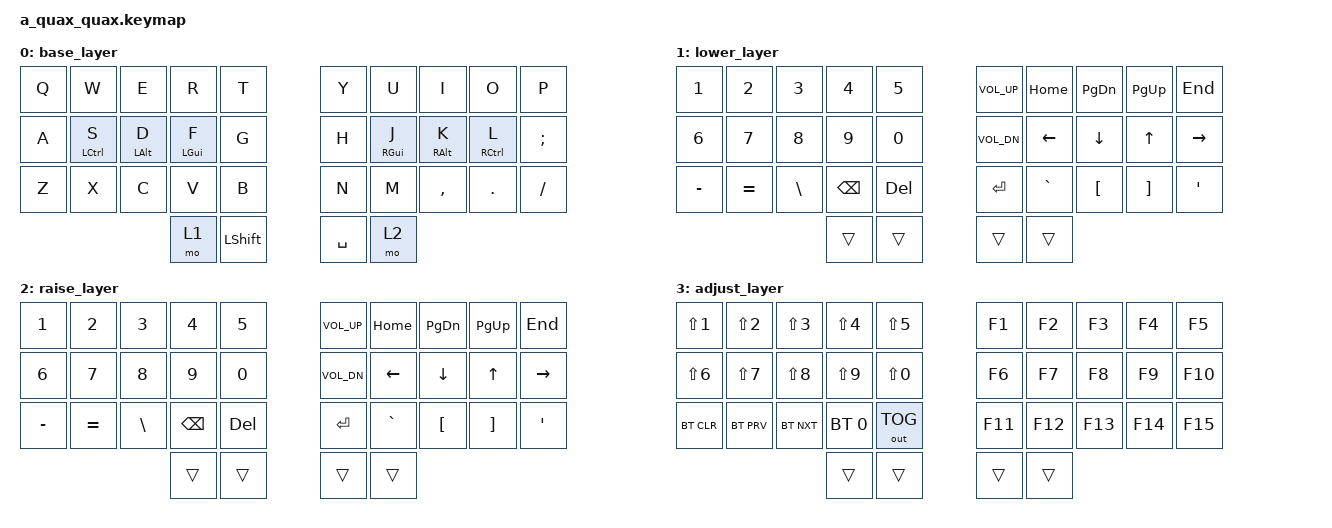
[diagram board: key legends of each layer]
/*
 * Copyright (c) 2021 The ZMK Contributors
 *
 * SPDX-License-Identifier: MIT
 */

#include <behaviors.dtsi>
#include <dt-bindings/zmk/keys.h>
#include <dt-bindings/zmk/bt.h>
#include <dt-bindings/zmk/outputs.h>

/ {
  conditional_layers {
    compatible = "zmk,conditional-layers";
    tri_layer {
      if-layers = <1 2>;
      then-layer = <3>;
    };
  };
  combos {
    compatible = "zmk,combos";
      combo_esc {
          timeout-ms = <50>;
          key-positions = <0 4>;
          bindings = <&kp ESC>;
      }; 
      combo_tab {
          timeout-ms = <50>;
          key-positions = <10 14>;
          bindings = <&kp TAB>;
      };
    };
  behaviors {
    hm: homerow_mods {
        compatible = "zmk,behavior-hold-tap";
        label = "HOMEROW_MODS";
        #binding-cells = <2>;
        tapping-term-ms = <175>;
        quick_tap_ms = <0>;
        flavor = "tap-preferred";
        bindings = <&kp>, <&kp>;
      };
    };
	keymap {
		compatible = "zmk,keymap";

		base_layer {
			bindings = <
				&kp Q  &kp W       &kp E      &kp R      &kp T      &kp Y     &kp U       &kp I      &kp O       &kp P
				&kp A  &hm LCTRL S &hm LALT D &hm LGUI F &kp G      &kp H     &hm RGUI J  &hm RALT K &hm RCTRL L &kp SEMI
				&kp Z  &kp X       &kp C      &kp V      &kp B      &kp N     &kp M       &kp COMMA  &kp DOT     &kp SLASH
                                                              &mo 1      &kp LSHIFT &kp SPACE &mo 2
			>;
		};
		lower_layer {
		      bindings = <
			&kp N1    &kp N2    &kp N3    &kp N4   &kp N5   &kp C_VOL_UP &kp HOME  &kp PG_DN &kp PG_UP &kp END         
			&kp N6    &kp N7    &kp N8    &kp N9   &kp N0   &kp C_VOL_DN &kp LEFT  &kp DOWN  &kp UP    &kp RIGHT
			&kp MINUS &kp EQUAL &kp BSLH  &kp BSPC &kp DEL  &kp ENTER    &kp GRAVE &kp LBKT  &kp RBKT  &kp SQT
					              &trans   &trans   &trans       &trans
		      >;
		};
    		raise_layer {
		      bindings = <
			&kp N1    &kp N2    &kp N3    &kp N4   &kp N5   &kp C_VOL_UP &kp HOME  &kp PG_DN &kp PG_UP &kp END         
			&kp N6    &kp N7    &kp N8    &kp N9   &kp N0   &kp C_VOL_DN &kp LEFT  &kp DOWN  &kp UP    &kp RIGHT
			&kp MINUS &kp EQUAL &kp BSLH  &kp BSPC &kp DEL  &kp ENTER    &kp GRAVE &kp LBKT  &kp RBKT  &kp SQT 
					              &trans   &trans   &trans       &trans
		      >;
		};
	        adjust_layer {
		      bindings = <
			&kp LS(N1) &kp LS(N2) &kp LS(N3) &kp LS(N4)   &kp LS(N5)    &kp F1  &kp F2  &kp F3  &kp F4  &kp F5
			&kp LS(N6) &kp LS(N7) &kp LS(N8) &kp LS(N9)   &kp LS(N0)    &kp F6  &kp F7  &kp F8  &kp F9  &kp F10
			&bt BT_CLR &bt BT_PRV &bt BT_NXT &bt BT_SEL 0 &out OUT_TOG  &kp F11 &kp F12 &kp F13 &kp F14 &kp F15
					                 &trans       &trans        &trans  &trans
		      >;
	        };
	};
};
